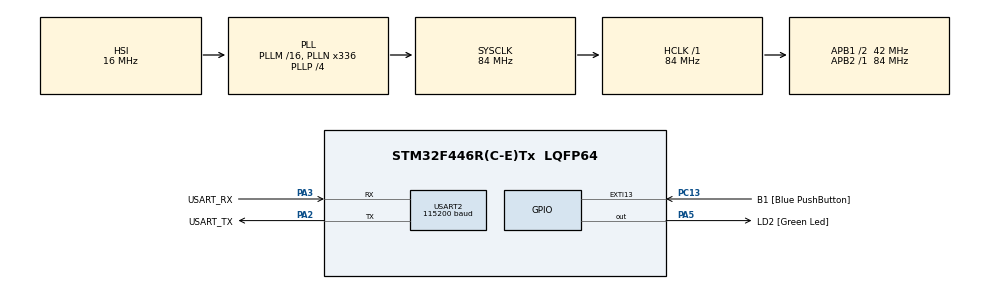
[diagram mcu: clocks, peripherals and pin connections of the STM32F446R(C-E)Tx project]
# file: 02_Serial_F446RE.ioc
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Mcu.Family=STM32F4
Mcu.Name=STM32F446R(C-E)Tx
Mcu.Package=LQFP64
NVIC.PriorityGroup=NVIC_PRIORITYGROUP_0
PA13.GPIO_Label=TMS
PA13.Signal=SYS_JTMS-SWDIO
PA14.GPIO_Label=TCK
PA14.Signal=SYS_JTCK-SWCLK
PA2.GPIO_Label=USART_TX
PA2.Mode=Asynchronous
PA2.Signal=USART2_TX
PA3.GPIO_Label=USART_RX
PA3.Mode=Asynchronous
PA3.Signal=USART2_RX
PA5.GPIO_Label=LD2 [Green Led]
PA5.Signal=GPIO_Output
PB3.GPIO_Label=SWO
PB3.Signal=SYS_JTDO-SWO
PC13.GPIO_Label=B1 [Blue PushButton]
PC13.GPIO_ModeDefaultEXTI=GPIO_MODE_IT_FALLING
PC13.Signal=GPXTI13
PC14-OSC32_IN.Signal=RCC_OSC32_IN
PC15-OSC32_OUT.Signal=RCC_OSC32_OUT
PH0-OSC_IN.Signal=RCC_OSC_IN
PH1-OSC_OUT.Signal=RCC_OSC_OUT
ProjectManager.HeapSize=0x200
ProjectManager.StackSize=0x400
ProjectManager.TargetToolchain=STM32CubeIDE
RCC.AHBFreq_Value=84000000
RCC.APB1CLKDivider=RCC_HCLK_DIV2
RCC.APB1Freq_Value=42000000
RCC.APB1TimFreq_Value=84000000
RCC.APB2Freq_Value=84000000
RCC.APB2TimFreq_Value=84000000
RCC.CortexFreq_Value=84000000
RCC.FLatency-AdvancedSettings=FLASH_LATENCY_2
RCC.HCLKFreq_Value=84000000
RCC.HSE_VALUE=8000000
RCC.HSI_VALUE=16000000
RCC.LSE_VALUE=32768
RCC.PLLN=336
RCC.PLLP=RCC_PLLP_DIV4
RCC.SYSCLKFreq_VALUE=84000000
RCC.SYSCLKSource=RCC_SYSCLKSOURCE_PLLCLK
RCC.USBFreq_Value=168000000
RCC.VCOOutputFreq_Value=336000000
USART2.BaudRate=115200
USART2.VirtualMode=VM_ASYNC
board=NUCLEO-F446RE

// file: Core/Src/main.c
/* USER CODE BEGIN Header */
/**
  ******************************************************************************
  * @file           : main.c
  * @brief          : Main program body
  ******************************************************************************
  * @attention
  *
  * Copyright (c) 2022 STMicroelectronics.
  * All rights reserved.
  *
  * This software is licensed under terms that can be found in the LICENSE file
  * in the root directory of this software component.
  * If no LICENSE file comes with this software, it is provided AS-IS.
  *
  ******************************************************************************
  */
/* USER CODE END Header */
#include "main.h"
#include "usart.h"
#include "gpio.h"

/* USER CODE BEGIN Includes */
#include <stdarg.h>
#include <string.h>
#include <stdio.h>
/* USER CODE END Includes */

void SystemClock_Config(void);
/* USER CODE BEGIN PFP */

void uartTest_1();
void uartTest_2();
void uartTest_3();

void my_printf(const char* format, ...);
/* USER CODE END PFP */

int main(void)
{

  /* MCU Configuration--------------------------------------------------------*/

  /* Reset of all peripherals, Initializes the Flash interface and the Systick. */
  HAL_Init();

  /* Configure the system clock */
  SystemClock_Config();

  /* Initialize all configured peripherals */
  MX_GPIO_Init();
  MX_USART2_UART_Init();

  /* Infinite loop */
  while (1)
  {
	uartTest_3();
  }
}

void SystemClock_Config(void)
{
  RCC_OscInitTypeDef RCC_OscInitStruct = {0};
  RCC_ClkInitTypeDef RCC_ClkInitStruct = {0};

  /** Configure the main internal regulator output voltage
  */
  __HAL_RCC_PWR_CLK_ENABLE();
  __HAL_PWR_VOLTAGESCALING_CONFIG(PWR_REGULATOR_VOLTAGE_SCALE3);

  /** Initializes the RCC Oscillators according to the specified parameters
  * in the RCC_OscInitTypeDef structure.
  */
  RCC_OscInitStruct.OscillatorType = RCC_OSCILLATORTYPE_HSI;
  RCC_OscInitStruct.HSIState = RCC_HSI_ON;
  RCC_OscInitStruct.HSICalibrationValue = RCC_HSICALIBRATION_DEFAULT;
  RCC_OscInitStruct.PLL.PLLState = RCC_PLL_ON;
  RCC_OscInitStruct.PLL.PLLSource = RCC_PLLSOURCE_HSI;
  RCC_OscInitStruct.PLL.PLLM = 16;
  RCC_OscInitStruct.PLL.PLLN = 336;
  RCC_OscInitStruct.PLL.PLLP = RCC_PLLP_DIV4;
  RCC_OscInitStruct.PLL.PLLQ = 2;
  RCC_OscInitStruct.PLL.PLLR = 2;
  if (HAL_RCC_OscConfig(&RCC_OscInitStruct) != HAL_OK)
  {
    Error_Handler();
  }

  /** Initializes the CPU, AHB and APB buses clocks
  */
  RCC_ClkInitStruct.ClockType = RCC_CLOCKTYPE_HCLK|RCC_CLOCKTYPE_SYSCLK
                              |RCC_CLOCKTYPE_PCLK1|RCC_CLOCKTYPE_PCLK2;
  RCC_ClkInitStruct.SYSCLKSource = RCC_SYSCLKSOURCE_PLLCLK;
  RCC_ClkInitStruct.AHBCLKDivider = RCC_SYSCLK_DIV1;
  RCC_ClkInitStruct.APB1CLKDivider = RCC_HCLK_DIV2;
  RCC_ClkInitStruct.APB2CLKDivider = RCC_HCLK_DIV1;

  if (HAL_RCC_ClockConfig(&RCC_ClkInitStruct, FLASH_LATENCY_2) != HAL_OK)
  {
    Error_Handler();
  }
}

/* USER CODE BEGIN 4 */

void uartTest_1()
{
	char* message = "Hello from test1 \n";

	while (1)
	{
		HAL_UART_Transmit(&huart2, (uint8_t*)message, strlen(message), HAL_MAX_DELAY);
		HAL_Delay(1000);
	}

}

void uartTest_2()
{
	int counter = 0;

	while (1)
	{
		my_printf("Counter value: %d\n", counter++);
		HAL_Delay(1000);
	}
}

void uartTest_3()
{
	uint8_t readByte = '\0';
	while (1)
	{
		HAL_UART_Receive(&huart2, &readByte, 1, HAL_MAX_DELAY);
		HAL_UART_Transmit(&huart2, &readByte, 1, HAL_MAX_DELAY);
	}
}

void my_printf(const char* format, ...)
{
	char buffer[256];
	int size;

	va_list args;
	va_start (args, format);
	size = vsnprintf(buffer, sizeof(buffer), format, args);

	HAL_UART_Transmit(&huart2, (uint8_t*)buffer, size, HAL_MAX_DELAY);

	va_end (args);
}
/* USER CODE END 4 */

void Error_Handler(void)
{
  __disable_irq();
  while (1)
  {
  }
}
